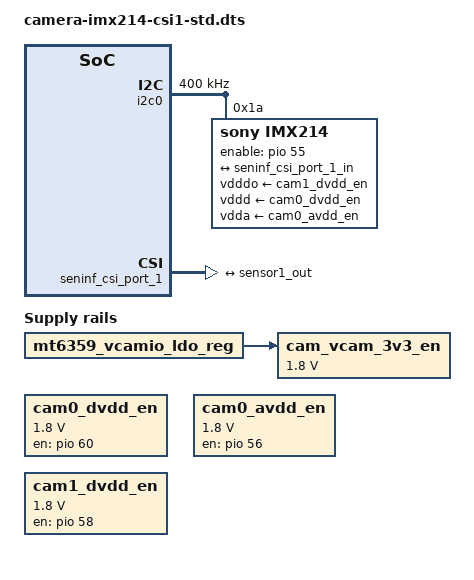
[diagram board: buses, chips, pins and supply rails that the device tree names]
// SPDX-License-Identifier: GPL-2.0
/*
 * Copyright (c) 2024 MediaTek Inc.
 *
 */

#include <dt-bindings/clock/mt8195-clk.h>
#include <dt-bindings/gpio/gpio.h>
#include <dt-bindings/pinctrl/mt8195-pinfunc.h>

/dts-v1/;
/plugin/;

#include "isp70.dtsi"

/ {
	fragment@3 {
		target-path = "/";
		__overlay__ {
			cam0_dvdd_en: cam0-dvdd-en-regulator {
				compatible = "regulator-fixed";
				regulator-name = "cam0_dvdd_en";
				regulator-min-microvolt = <1800000>;
				regulator-max-microvolt = <1800000>;
				gpio = <&pio 60 0>;
				startup-delay-us = <18000>;
				enable-active-high;
				pinctrl-names = "default";
				pinctrl-0 = <&cam0_dvdd_en_pins>;
			};

			cam0_avdd_en: cam0-avdd-en-regulator {
				compatible = "regulator-fixed";
				regulator-name = "cam0_avdd_en";
				regulator-min-microvolt = <1800000>;
				regulator-max-microvolt = <1800000>;
				gpio = <&pio 56 0>;
				startup-delay-us = <18000>;
				enable-active-high;
				pinctrl-names = "default";
				pinctrl-0 = <&cam0_avdd_en_pins>;
			};

			cam1_dvdd_en: cam1-dvdd-en-regulator {
				compatible = "regulator-fixed";
				regulator-name = "cam1_dvdd_en";
				regulator-min-microvolt = <1800000>;
				regulator-max-microvolt = <1800000>;
				gpio = <&pio 58 0>;
				startup-delay-us = <18000>;
				enable-active-high;
				pinctrl-names = "default";
				pinctrl-0 = <&cam1_dvdd_en_pins>;
			};

			cam_vcam_3v3_en: cam_vcam_3v3_en-regulator {
				compatible = "regulator-fixed";
				regulator-name = "cam_vcam_3v3_en";
				regulator-min-microvolt = <1800000>;
				regulator-max-microvolt = <1800000>;
				vin-supply = <&mt6359_vcamio_ldo_reg>;
				enable-active-high;
				regulator-always-on;
			};
		};
	};

	fragment@4 {
		target = <&pio>;
		__overlay__ {
			cam1_pins_default: cam1_pins_default {
				pins_cmd_dat {
					pinmux = <PINMUX_GPIO55__FUNC_GPIO55>,
						 <PINMUX_GPIO23__FUNC_CMMCLK1>;
				};
			};

			cam0_dvdd_en_pins: cam0-dvdd-en-pins {
				pins_cmd_dat {
					pinmux = <PINMUX_GPIO60__FUNC_GPIO60>;
				};
			};

			cam0_avdd_en_pins: cam0-avdd-en-pins {
				pins_cmd_dat {
					pinmux = <PINMUX_GPIO56__FUNC_GPIO56>;
				};
			};

			cam1_dvdd_en_pins: cam1-dvdd-en-pins {
				pins_cmd_dat {
					pinmux = <PINMUX_GPIO58__FUNC_GPIO58>;
				};
			};
		};
	};

	fragment@5 {
		target = <&i2c0>;
		__overlay__ {
			clock-frequency = <400000>;

			imx214@1a {
				compatible = "sony,imx214";

				reg = <0x1a>;
				status = "okay";

				pinctrl-names = "default";
				pinctrl-0 = <&cam1_pins_default>;

				clocks = <&topckgen CLK_TOP_CAMTG2>;
				assigned-clocks = <&topckgen CLK_TOP_CAMTG2>;
				assigned-clock-parents = <&topckgen CLK_TOP_UNIVPLL_192M_D8>;

				enable-gpios = <&pio 55 GPIO_ACTIVE_HIGH>;

				vdddo-supply = <&cam1_dvdd_en>;
				vddd-supply = <&cam0_dvdd_en>;
				vdda-supply = <&cam0_avdd_en>;

				port {
					sensor1_out: endpoint {
						remote-endpoint = <&seninf_csi_port_1_in>;
						data-lanes = <1 2 3 4>;
						link-frequencies = /bits/ 64 <480000000>;
					};
				};
			};
		};
	};

	fragment@6 {
		target = <&seninf_top>;
		__overlay__ {
			seninf_csi_port_1: seninf_csi_port_1 {
				compatible = "mediatek,seninf";
				csi-port = "1";

				port {
					seninf_csi_port_1_in: endpoint {
						remote-endpoint = <&sensor1_out>;
						data-lanes = <1 2 3 4>;
					};
				};
			};
		};
	};

	fragment@7 {
		target = <&imgsys_fw>;
		__overlay__ {
			status = "disabled";
		};
	};

	fragment@8 {
		target = <&hcp>;
		__overlay__ {
			status = "disabled";
		};
	};

	fragment@9 {
		target-path = "/soc/imgsys_larb";
		__overlay__ {
			status = "disabled";
		};
	};

	fragment@10 {
		target = <&ipesys_me>;
		__overlay__ {
			status = "disabled";
		};
	};
};
